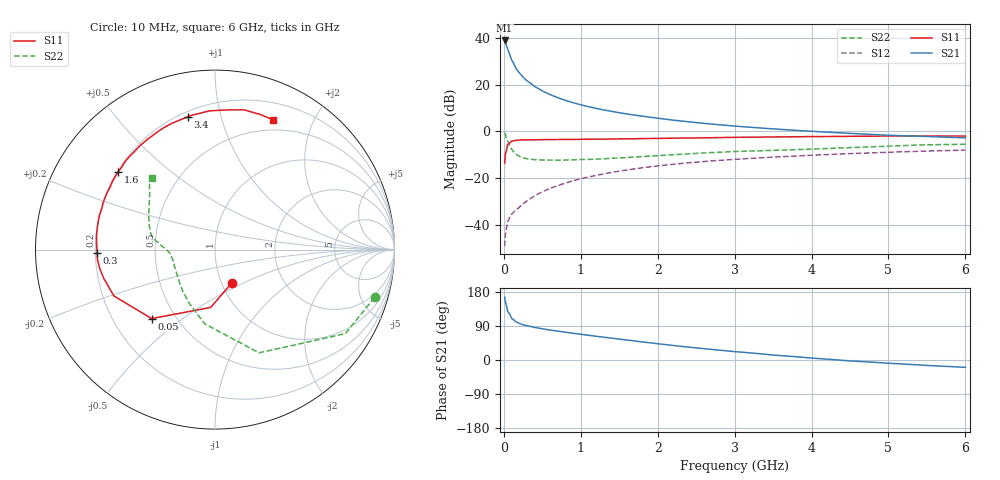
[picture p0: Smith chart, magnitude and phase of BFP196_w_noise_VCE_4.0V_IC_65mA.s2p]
! Infineon Technologies  Discrete & RF Semiconductors
! BFP196
! VCE =  4.0 V,  IC =  65 mA
! Common Emitter S-Parameters:  Jan 2017
# GHz  S  MA  R  50
!  f  S11  S21  S12  S22
! GHz  MAG  ANG  MAG  ANG  MAG  ANG  MAG  ANG
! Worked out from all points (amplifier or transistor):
!   77 points, 10 MHz to 6 GHz, reference 50 ohm
!   highest |S21| = 38.9 dB at 10 MHz (marker M1)
!   |S21| within 3 dB of that: start of sweep to 42.16 MHz
!   unconditionally stable (mu >= 1): 474.7 MHz to 2.445 GHz
!   at 130 MHz: K = 0.69, MSG = 31.7 dB, |S12| = -34.5 dB
!   at 2.2 GHz: K = 1.01, MAG = 8.9 dB, |S12| = -14.1 dB
!   at 6 GHz: K = 0.96, MSG = 2.6 dB, |S12| = -8.0 dB
!   lowest NFmin = 1.62 dB at 450 MHz
!   S11 on the Smith chart (normalised r, x): 10 MHz: 1.11, -0.44; 50 MHz: 0.37, -0.39; 300 MHz: 0.21, -0.02; 1.6 GHz: 0.20, +0.34; 3.4 GHz: 0.23, +0.79; 6 GHz: 0.38, +1.47
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0.01  0.2089 -63.7  87.89 165.8  0.0035 79.9  0.9281 -16.7
0.02  0.3231 -94.3  82.03 153.3  0.0061 74.2  0.8639 -32.8
0.05  0.522 -132.6  56.96 127.9  0.0116 54.4  0.6254 -66.9
0.1  0.6197 -155.4  33.99 109.8  0.0168 56.4  0.4173 -97.9
0.15  0.64 -165.4  23.56 101.8  0.0202 57.0  0.3319 -115.7
0.2  0.6511 -170.9  17.93 96.7  0.0237 61.2  0.2932 -127.8
0.25  0.6572 -175.1  14.44 93.0  0.0282 63.1  0.272 -136.2
0.3  0.6566 -178.2  12.08 90.4  0.0325 65.4  0.2595 -143.1
0.4  0.6605 177.2  9.135 85.9  0.0416 67.7  0.2476 -151.8
0.5  0.6651 173.0  7.317 82.3  0.0509 68.6  0.2438 -157.9
0.6  0.6668 169.5  6.125 79.1  0.0604 68.3  0.243 -162.4
0.7  0.6691 166.5  5.255 76.3  0.0688 68.5  0.2411 -165.8
0.8  0.6718 163.4  4.605 73.2  0.0785 68.0  0.2432 -168.4
0.9  0.6706 160.3  4.093 70.6  0.0876 66.7  0.2459 -170.6
1.1  0.6778 154.7  3.376 65.3  0.1056 65.0  0.2513 -174.4
1.6  0.6916 141.2  2.358 52.6  0.1494 58.6  0.2748 179.4
2.1  0.7091 128.2  1.822 40.7  0.1896 51.5  0.3092 174.2
3.1  0.7454 107.1  1.26 20.5  0.2574 37.5  0.374 164.4
3.4  0.7549 101.7  1.159 15.1  0.2749 33.8  0.3873 160.6
4.1  0.7744 90.6  0.982 3.7  0.3131 25.1  0.423 150.6
5.1  0.7941 77.0  0.815 -9.6  0.3612 13.4  0.4888 138.1
6  0.7925 66.1  0.726 -19.4  0.3976 3.4  0.5298 131.6
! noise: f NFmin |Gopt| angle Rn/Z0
0.45  1.62  0.43  -173  0.06
0.9  1.78  0.49  -160  0.08
1.9  2.59  0.69  -131  0.35
2.4  3  0.7  -118  0.75
